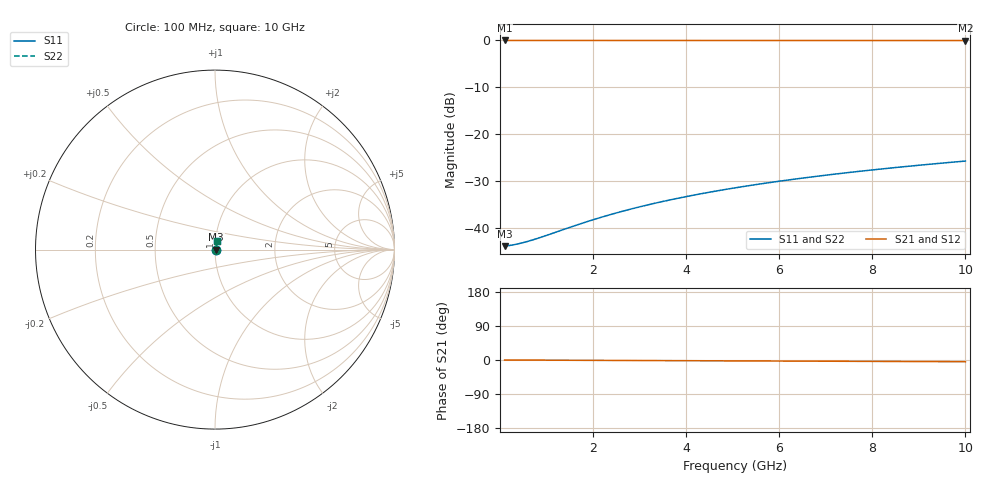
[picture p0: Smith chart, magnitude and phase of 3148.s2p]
# Hz S RI R 50.00
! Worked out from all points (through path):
!   100 points, 100 MHz to 10 GHz, reference 50 ohm
!   highest |S21| = -0.06 dB at 100 MHz (marker M1); lowest = -0.1 dB at 10 GHz (marker M2)
!   lowest |S11| = -43.9 dB at 100 MHz (marker M3), VSWR 1.01, Z = 50.6 + j0.0513 ohm
!   |S11| at or under -10 dB: start of sweep to end of sweep
!   |S22| runs from -43.9 to -25.8 dB; largest |S21 - S12| = 1e-14
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1e8  0.00637 0.000507  0.9936 -0.000795  0.9936 -0.000795  0.00637 0.000507
3e8  0.00644 0.00152  0.9936 -0.00238  0.9936 -0.00238  0.00644 0.00152
4e8  0.00647 0.00203  0.9935 -0.00318  0.9935 -0.00318  0.00647 0.00203
5e8  0.00649 0.00253  0.9935 -0.00397  0.9935 -0.00397  0.00649 0.00253
7e8  0.00654 0.00354  0.9935 -0.00556  0.9935 -0.00556  0.00654 0.00354
9e8  0.00658 0.00456  0.9934 -0.00715  0.9934 -0.00715  0.00658 0.00456
1.5e9  0.00671 0.00759  0.9933 -0.0119  0.9933 -0.0119  0.00671 0.00759
1.8e9  0.00677 0.00911  0.9932 -0.0143  0.9932 -0.0143  0.00677 0.00911
2.2e9  0.00687 0.0111  0.9931 -0.0175  0.9931 -0.0175  0.00687 0.0111
2.6e9  0.00697 0.0132  0.993 -0.0206  0.993 -0.0206  0.00697 0.0132
3e9  0.00709 0.0152  0.9929 -0.0238  0.9929 -0.0238  0.00709 0.0152
3.4e9  0.00721 0.0172  0.9927 -0.027  0.9927 -0.027  0.00721 0.0172
3.8e9  0.00735 0.0192  0.9926 -0.0302  0.9926 -0.0302  0.00735 0.0192
4.2e9  0.0075 0.0212  0.9924 -0.0333  0.9924 -0.0333  0.0075 0.0212
4.6e9  0.00766 0.0233  0.9922 -0.0365  0.9922 -0.0365  0.00766 0.0233
5.1e9  0.00788 0.0258  0.992 -0.0405  0.992 -0.0405  0.00788 0.0258
5.9e9  0.00827 0.0298  0.9916 -0.0468  0.9916 -0.0468  0.00827 0.0298
6.7e9  0.00871 0.0338  0.9911 -0.0531  0.9911 -0.0531  0.00871 0.0338
7.5e9  0.0092 0.0378  0.9905 -0.0595  0.9905 -0.0595  0.0092 0.0378
8.4e9  0.00981 0.0424  0.9899 -0.0666  0.9899 -0.0666  0.00981 0.0424
9.2e9  0.0104 0.0464  0.9892 -0.0729  0.9892 -0.0729  0.0104 0.0464
1e10  0.0111 0.0503  0.9885 -0.0792  0.9885 -0.0792  0.0111 0.0503
